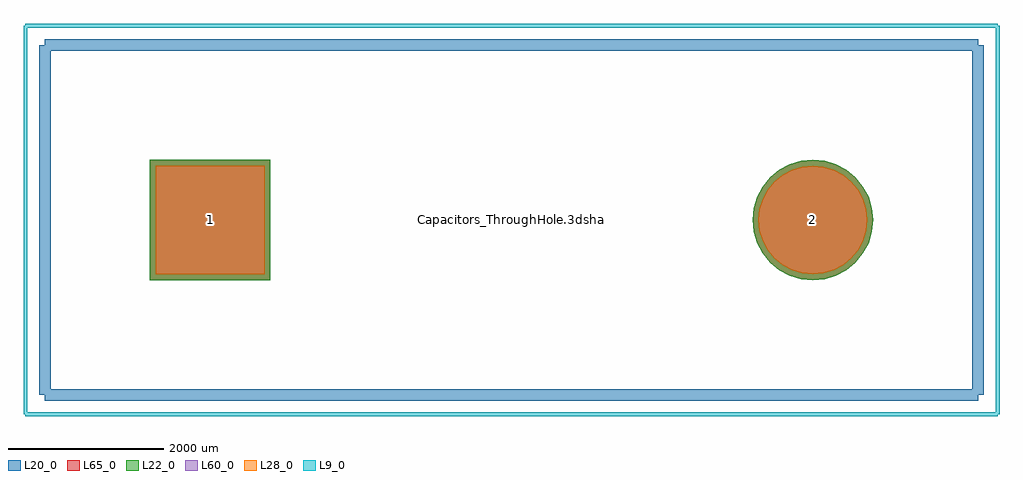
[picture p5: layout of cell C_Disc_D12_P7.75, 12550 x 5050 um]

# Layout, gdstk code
import gdstk
lib = gdstk.Library(unit=1e-6, precision=1e-09)
def R(c, l, rs):  # rectangles x0, y0, x1, y1
    for r in rs: c.add(gdstk.rectangle(r[:2], r[2:], *l))
def P(c, l, *ps):  # polygons
    for p in ps: c.add(gdstk.Polygon(p, *l))
L9_0 = (9, 0)
L20_0 = (20, 0)
L22_0 = (22, 0)
L28_0 = (28, 0)
L60_0 = (60, 0)
L65_0 = (65, 0)

c_disc_d12_p7_75 = lib.new_cell('C_Disc_D12_P7.75')
R(c_disc_d12_p7_75, L22_0, [(-775,-775,775,775)])
P(c_disc_d12_p7_75, L22_0, [(8525,0),(8510.109,151.195),(8466.007,296.58),(8394.389,430.567),(8298.008,548.008),(8180.567,644.389),(8046.58,716.007),(7901.195,760.109),(7750,775),(7598.805,760.109),(7453.42,716.007),(7319.433,644.389),(7201.992,548.008),(7105.611,430.567),(7033.993,296.58),(6989.891,151.195),(6975,0),(6989.891,-151.195),(7033.993,-296.58),(7105.611,-430.567),(7201.992,-548.008),(7319.433,-644.389),(7453.42,-716.007),(7598.805,-760.109),(7750,-775),(7901.195,-760.109),(8046.58,-716.007),(8180.567,-644.389),(8298.008,-548.008),(8394.389,-430.567),(8466.007,-296.58),(8510.109,-151.195)])
R(c_disc_d12_p7_75, L28_0, [(-700,-700,700,700)])
P(c_disc_d12_p7_75, L28_0, [(8450,0),(8436.55,136.563),(8396.716,267.878),(8332.029,388.899),(8244.975,494.975),(8138.899,582.029),(8017.878,646.716),(7886.563,686.55),(7750,700),(7613.437,686.55),(7482.122,646.716),(7361.101,582.029),(7255.025,494.975),(7167.971,388.899),(7103.284,267.878),(7063.45,136.563),(7050,0),(7063.45,-136.563),(7103.284,-267.878),(7167.971,-388.899),(7255.025,-494.975),(7361.101,-582.029),(7482.122,-646.716),(7613.437,-686.55),(7750,-700),(7886.563,-686.55),(8017.878,-646.716),(8138.899,-582.029),(8244.975,-494.975),(8332.029,-388.899),(8396.716,-267.878),(8436.55,-136.563)])
R(c_disc_d12_p7_75, L60_0, [(-700,-700,700,700)])
P(c_disc_d12_p7_75, L60_0, [(8450,0),(8436.55,136.563),(8396.716,267.878),(8332.029,388.899),(8244.975,494.975),(8138.899,582.029),(8017.878,646.716),(7886.563,686.55),(7750,700),(7613.437,686.55),(7482.122,646.716),(7361.101,582.029),(7255.025,494.975),(7167.971,388.899),(7103.284,267.878),(7063.45,136.563),(7050,0),(7063.45,-136.563),(7103.284,-267.878),(7167.971,-388.899),(7255.025,-494.975),(7361.101,-582.029),(7482.122,-646.716),(7613.437,-686.55),(7750,-700),(7886.563,-686.55),(8017.878,-646.716),(8138.899,-582.029),(8244.975,-494.975),(8332.029,-388.899),(8396.716,-267.878),(8436.55,-136.563)])
R(c_disc_d12_p7_75, L65_0, [(-775,-775,775,775)])
P(c_disc_d12_p7_75, L65_0, [(8525,0),(8510.109,151.195),(8466.007,296.58),(8394.389,430.567),(8298.008,548.008),(8180.567,644.389),(8046.58,716.007),(7901.195,760.109),(7750,775),(7598.805,760.109),(7453.42,716.007),(7319.433,644.389),(7201.992,548.008),(7105.611,430.567),(7033.993,296.58),(6989.891,151.195),(6975,0),(6989.891,-151.195),(7033.993,-296.58),(7105.611,-430.567),(7201.992,-548.008),(7319.433,-644.389),(7453.42,-716.007),(7598.805,-760.109),(7750,-775),(7901.195,-760.109),(8046.58,-716.007),(8180.567,-644.389),(8298.008,-548.008),(8394.389,-430.567),(8466.007,-296.58),(8510.109,-151.195)])
c_disc_d12_p7_75.add(gdstk.FlexPath([(-2125,-2250),(-2125,2250)], 149.998, ends="flush", simple_path=True, layer=20, datatype=0))  # L20_0
c_disc_d12_p7_75.add(gdstk.FlexPath([(9875,-2250),(-2125,-2250)], 149.998, ends="flush", simple_path=True, layer=20, datatype=0))  # L20_0
c_disc_d12_p7_75.add(gdstk.FlexPath([(9875,2250),(9875,-2250)], 149.998, ends="flush", simple_path=True, layer=20, datatype=0))  # L20_0
c_disc_d12_p7_75.add(gdstk.FlexPath([(-2125,2250),(9875,2250)], 149.998, ends="flush", simple_path=True, layer=20, datatype=0))  # L20_0
c_disc_d12_p7_75.add(gdstk.FlexPath([(-2375,-2500),(-2375,2500)], 50, ends="flush", simple_path=True, layer=9, datatype=0))  # L9_0
c_disc_d12_p7_75.add(gdstk.FlexPath([(10125,-2500),(-2375,-2500)], 50, ends="flush", simple_path=True, layer=9, datatype=0))  # L9_0
c_disc_d12_p7_75.add(gdstk.FlexPath([(10125,2500),(10125,-2500)], 50, ends="flush", simple_path=True, layer=9, datatype=0))  # L9_0
c_disc_d12_p7_75.add(gdstk.FlexPath([(-2375,2500),(10125,2500)], 50, ends="flush", simple_path=True, layer=9, datatype=0))  # L9_0
c_disc_d12_p7_75.add(gdstk.Label('Capacitors_ThroughHole.3dshapes/C_Disc_D12_P7.75.wrl', (3875,0), layer=12, texttype=0))
c_disc_d12_p7_75.add(gdstk.Label('2', (7750,0), layer=28, texttype=0))
c_disc_d12_p7_75.add(gdstk.Label('1', (0,0), layer=28, texttype=0))
c_disc_d12_p7_75.add(gdstk.Label('type', (3875,-3500), layer=9, texttype=0))
c_disc_d12_p7_75.add(gdstk.Label('devicename', (3875,3500), layer=9, texttype=0))

lib.write_gds('C_Disc_D12_P7.75.gds')
